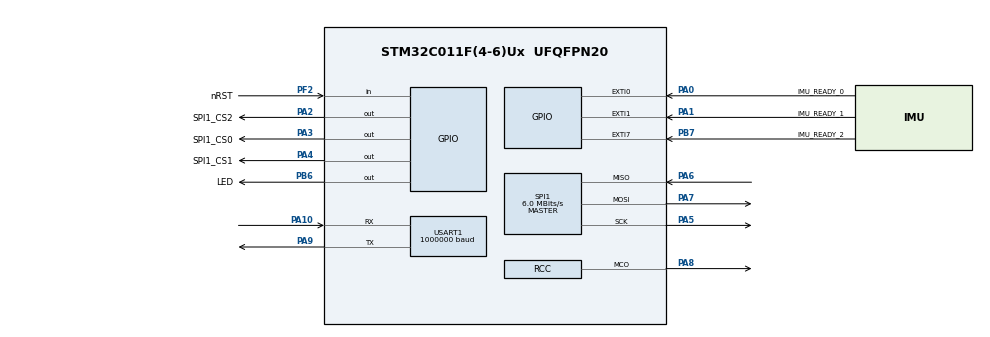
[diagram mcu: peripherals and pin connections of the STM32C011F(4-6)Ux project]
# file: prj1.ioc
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Mcu.Family=STM32C0
Mcu.Name=STM32C011F(4-6)Ux
Mcu.Package=UFQFPN20
NVIC.EXTI0_1_IRQn=true\:0\:0\:false\:false\:true\:true\:true\:true
NVIC.EXTI4_15_IRQn=true\:0\:0\:false\:false\:true\:true\:true\:true
NVIC.SPI1_IRQn=true\:0\:0\:false\:false\:true\:true\:true\:true
NVIC.TIM17_IRQn=true\:0\:0\:false\:false\:true\:true\:true\:true
NVIC.TIM1_BRK_UP_TRG_COM_IRQn=true\:0\:0\:false\:false\:true\:true\:true\:true
NVIC.USART1_IRQn=true\:0\:0\:false\:false\:true\:true\:true\:true
PA0.GPIO_Label=IMU_READY_0
PA0.Signal=GPXTI0
PA1.GPIO_Label=IMU_READY_1
PA1.Signal=GPXTI1
PA10\ [PA12].GPIO_FMPA10=SYSCFG_FASTMODEPLUS_PA10
PA10\ [PA12].GPIO_ModeDefaultPP=GPIO_MODE_AF_PP
PA10\ [PA12].GPIO_PuPd=GPIO_NOPULL
PA10\ [PA12].GPIO_Speed=GPIO_SPEED_FREQ_VERY_HIGH
PA10\ [PA12].Mode=Asynchronous
PA10\ [PA12].Signal=USART1_RX
PA13.Mode=Serial_Wire
PA13.Signal=DEBUG_SWDIO
PA14-BOOT0.Mode=Serial_Wire
PA14-BOOT0.Signal=DEBUG_SWCLK
PA2.GPIO_Label=SPI1_CS2
PA2.GPIO_Speed=GPIO_SPEED_FREQ_VERY_HIGH
PA2.PinState=GPIO_PIN_SET
PA2.Signal=GPIO_Output
PA3.GPIO_Label=SPI1_CS0
PA3.GPIO_ModeDefaultOutputPP=GPIO_MODE_OUTPUT_PP
PA3.GPIO_PuPd=GPIO_NOPULL
PA3.GPIO_Speed=GPIO_SPEED_FREQ_VERY_HIGH
PA3.PinState=GPIO_PIN_SET
PA3.Signal=GPIO_Output
PA4.GPIO_Label=SPI1_CS1
PA4.GPIO_PuPd=GPIO_NOPULL
PA4.GPIO_Speed=GPIO_SPEED_FREQ_VERY_HIGH
PA4.PinState=GPIO_PIN_SET
PA4.Signal=GPIO_Output
PA5.GPIO_Speed=GPIO_SPEED_FREQ_VERY_HIGH
PA5.Mode=Full_Duplex_Master
PA5.Signal=SPI1_SCK
PA6.GPIO_Speed=GPIO_SPEED_FREQ_VERY_HIGH
PA6.Mode=Full_Duplex_Master
PA6.Signal=SPI1_MISO
PA7.GPIO_Speed=GPIO_SPEED_FREQ_VERY_HIGH
PA7.Mode=Full_Duplex_Master
PA7.Signal=SPI1_MOSI
PA8.GPIO_Speed=GPIO_SPEED_FREQ_LOW
PA8.Mode=Clock-out
PA8.Signal=RCC_MCO
PA9\ [PA11].GPIO_FMPA9=SYSCFG_FASTMODEPLUS_PA9
PA9\ [PA11].GPIO_PuPd=GPIO_NOPULL
PA9\ [PA11].GPIO_Speed=GPIO_SPEED_FREQ_VERY_HIGH
PA9\ [PA11].Mode=Asynchronous
PA9\ [PA11].Signal=USART1_TX
PB6.GPIO_Label=LED
PB6.GPIO_Speed=GPIO_SPEED_FREQ_VERY_HIGH
PB6.PinState=GPIO_PIN_RESET
PB6.Signal=GPIO_Output
PB7.GPIO_Label=IMU_READY_2
PB7.Signal=GPXTI7
PC14-OSCX_IN\ (PC14).Mode=HSE-External-Oscillator-REMAPPED
PC14-OSCX_IN\ (PC14).Signal=RCC_OSCX_IN
PC15-OSCX_OUT\ (PC15).Mode=HSE-External-Oscillator-REMAPPED
PC15-OSCX_OUT\ (PC15).Signal=RCC_OSCX_OUT
PF2-NRST.GPIO_Label=nRST
PF2-NRST.Signal=GPIO_Input
ProjectManager.HeapSize=0x200
ProjectManager.StackSize=0x400
ProjectManager.TargetToolchain=STM32CubeIDE
RCC.ADCFreq_Value=48000000
RCC.AHBFreq_Value=48000000
RCC.CortexFreq_Value=48000000
RCC.EXTERNAL_CLOCK_VALUE=12288000
RCC.HCLKFreq_Value=48000000
RCC.HSE_VALUE=48000000
RCC.HSISYSCLKDivider=RCC_HSI_DIV1
RCC.HSI_VALUE=48000000
RCC.LSE_VALUE=32768
RCC.SYSCLKFreq_VALUE=48000000
SPI1.BaudRatePrescaler=SPI_BAUDRATEPRESCALER_8
SPI1.CalculateBaudRate=6.0 MBits/s
SPI1.Direction=SPI_DIRECTION_2LINES
SPI1.Mode=SPI_MODE_MASTER
SPI1.VirtualType=VM_MASTER
TIM1.Period=9
TIM1.Prescaler=4799
TIM17.Prescaler=47
USART1.BaudRate=1000000
USART1.VirtualMode-Asynchronous=VM_ASYNC
VP_SYS_VS_PINREMAP.Mode=PINREMAP
VP_SYS_VS_PINREMAP_10_12.Mode=PINREMAP_10_12
VP_TIM17_VS_ClockSourceINT.Mode=Enable_Timer
VP_TIM1_VS_ClockSourceINT.Mode=Internal
board=STM32C0116-DK

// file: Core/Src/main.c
/* USER CODE BEGIN Header */
/**
  ******************************************************************************
  * @file           : main.c
  * @brief          : Main program body
  ******************************************************************************
  * @attention

  ******************************************************************************
  */
/* USER CODE END Header */
#include "main.h"
#include "spi.h"
#include "tim.h"
#include "usart.h"
#include "gpio.h"

/* USER CODE BEGIN Includes */
#include <stdio.h>           //add for sprintf
#include "string.h"          //add for memcmp
#include "spi.h"             //add

/* USER CODE END Includes */

/* USER CODE BEGIN PTD */

//#define TXMODE
#define RXMODE

extern volatile uint8_t flg_rx;
extern volatile uint8_t irxdata[RXDATALEN+2];
extern volatile uint8_t irxdata2[RXDATALEN+2];
//extern volatile uint8_t icurrentindex;

extern volatile uint32_t irxcount;
extern volatile uint32_t irxcount2;

extern volatile uint8_t flg_timer1;

//uint32_t  isensorcount=0;
//uint32_t  iledcount=0;

uint32_t  immc0_ctrl_0=0;
uint32_t  immc1_ctrl_0=0;

uint8_t ireportdata[32];

/* USER CODE END PTD */

/* USER CODE BEGIN PD */

  #define ADC_CALIBRATION_TIMEOUT_MS       (   1UL)
  #define ADC_ENABLE_TIMEOUT_MS            (   1UL)
  #define ADC_DISABLE_TIMEOUT_MS           (   1UL)
  #define ADC_STOP_CONVERSION_TIMEOUT_MS   (   1UL)
  #define ADC_CONVERSION_TIMEOUT_MS        (4000UL)

  /* Delay between ADC end of calibration and ADC enable.                     */
  /* Delay estimation in CPU cycles: Case of ADC enable done                  */
  /* immediately after ADC calibration, ADC clock setting slow                */
  /* (LL_ADC_CLOCK_ASYNC_DIV32). Use a higher delay if ratio                  */
  /* (CPU clock / ADC clock) is above 32.                                     */
  #define ADC_DELAY_CALIB_ENABLE_CPU_CYCLES  (LL_ADC_DELAY_CALIB_ENABLE_ADC_CYCLES * 32)

/* Definitions of environment analog values */
  /* Value of analog reference voltage (Vref+), connected to analog voltage   */
  /* supply Vdda (unit: mV).                                                  */
  #define VDDA_APPLI                       (3300UL)

/* Definitions of data related to this example */
  /* Init variable out of expected ADC conversion data range */
  #define VAR_CONVERTED_DATA_INIT_VALUE    (__LL_ADC_DIGITAL_SCALE(LL_ADC_RESOLUTION_12B) + 1)

/* USER CODE END PD */

/* USER CODE BEGIN PM */

//---MMC5983---
#define DATA_HEADER_POINT  0
#define DATA_MMC0_POINT  2
#define DATA_MMC1_POINT  9
#define DATA_ICM0_POINT  16
#define DATA_TIME_POINT  28
#define DATA_ENDER_POINT 30

#define FROZEN_GAP   10000    //10s

#define MMC5983_XOUT_REG            0x00
#define MMC5983_TOUT_REG            0x07
#define MMC5983_STATUS_REG          0x08
#define MMC5983_CONTROL0_REG        0x09
#define MMC5983_CONTROL1_REG        0x0A
#define MMC5983_CONTROL2_REG        0x0B
#define MMC5983_CONTROL3_REG        0x0C
#define MMC5983_PRODUCT_ID_REG      0x2F

#define MMC5983_PRODUCT_ID_RESULT   0x30

#define MMC5983_MYSTERY_REG 0x29
#define MMC5983_MYSTERY_TC_DISABLE 0x01
#define MMC5983_UNLOCK_REG 0x0F
#define MMC5983_UNLOCK_VAL 0xE1

//MEMSIC values
#define MMC5983_CONTROL0_MAG_MEAS   0x01
#define MMC5983_CONTROL0_TEMP_MEAS  0x02
#define MMC5983_CONTROL0_INT_EN     0x04
#define MMC5983_CONTROL0_SET        0x08
#define MMC5983_CONTROL0_RESET      0x10
#define MMC5983_CONTROL0_AUTOSREN   0x20   //add

#define MMC5983_CONTROL0_INIT       0x00
#define MMC5983_CONTROL0_START_TEMP_CMD  (MMC5983_CONTROL0_TEMP_MEAS | MMC5983_CONTROL0_RESET)
#define MMC5983_CONTROL0_START_CMD  (MMC5983_CONTROL0_MAG_MEAS)

#ifdef OMMO_SENSOR_MEMSIC_MMC5983_SET
  #define MMC5983_CONTROL0_SET_CMD    (MMC5983_CONTROL0_SET)
#else
  #define MMC5983_CONTROL0_SET_CMD    (MMC5983_CONTROL0_RESET) //RESET will invert the axis making them right handed
#endif

#define MMC5983_CONTROL1_CHIP_RESET 0x80
#define MMC5983_CONTROL1_BW_100     0x00
#define MMC5983_CONTROL1_BW_200     0x01
#define MMC5983_CONTROL1_BW_400     0x02
#define MMC5983_CONTROL1_BW_800     0x03
#define MMC5983_CONTROL1_INIT       MMC5983_CONTROL1_BW_8

#define MMC5983_CONTROL2_CM_FREQ_1000  0X07    //add
#define MMC5983_CONTROL2_CMM_EN        0X08    //add

//---ICM42605---
// Bank 0
#define ICM_DEVICE_ID                          0x42

#define ICM42605_DEVICE_CONFIG_REG             0x11
#define ICM42605_INT_CONFIG_REG                0x14
#define ICM42605_ACCEL_DATA_X1_REG             0x1F

#define ICM42605_INT_STATUS_REG                0x2D

#define ICM42605_PWR_MGMT0_REG                 0x4E
#define ICM42605_GYRO_CONFIG0_REG              0x4F
#define ICM42605_ACCEL_CONFIG0_REG             0x50
#define ICM42605_GYRO_CONFIG1_REG              0x51

#define ICM42605_INT_CONFIG1_REG               0x64
#define ICM42605_INT_SOURCE0_REG               0x65
#define ICM42605_WHO_AM_I_REG                  0x75

#define ICM42605_REG_BANK_SEL_REG              0x76

// Bank 4
#define ICM42605_APEX_CONFIG5_REG              0x44

/* USER CODE END PM */

void SystemClock_Config(void);

/* USER CODE BEGIN 0 */

void iputs1(char *msg)
{
   while(*msg)
   Send_Data_To_UART1(*msg++);
}

void iputbytes1(uint8_t *msg, uint32_t ilen)
{
   while(ilen--)
   Send_Data_To_UART1(*msg++);
}

void Send_Data_To_UART1 (uint8_t c)
{
   USART1->TDR = c;
   while( (USART1-> ISR & (1<<7) ) ==0 );
}

uint8_t get_checksum_8(uint8_t *ival, uint32_t inum)
{
   uint32_t i =0;
   uint8_t iret =0;
   uint16_t isum =0;

   for (i=0; i<inum; i++)
   {
      isum += ival[i];
   }

   iret = (uint8_t)(isum & 0xff);

   return iret;
}

void dowith_uart_tx(void)
{

}

void dowith_uart_rx(void)
{

}

void delay_count(uint32_t icount)
{
   uint32_t inum = icount;
   while (inum--) ;
}

uint8_t SPI_transfer(uint8_t data)
{
   // transmit
	LL_SPI_TransmitData8(MMC_SPI, data);
	while(!LL_SPI_IsActiveFlag_TXE(MMC_SPI));

   // receive
	while(!LL_SPI_IsActiveFlag_RXNE(MMC_SPI));
	return LL_SPI_ReceiveData8(MMC_SPI);

}

//---------------------mmc0 module---------------------------

uint8_t mmc0_read_byte(uint8_t addr)
{
   uint8_t value;

   LL_GPIO_ResetOutputPin((GPIO_TypeDef *)GPIOA, LL_GPIO_PIN_3);

   SPI_transfer(0x80|addr );
   value  = SPI_transfer(0x00);

   LL_GPIO_SetOutputPin((GPIO_TypeDef *)GPIOA, LL_GPIO_PIN_3);

   return value;
}

void mmc0_write_byte(uint8_t addr,  uint8_t value)
{

   LL_GPIO_ResetOutputPin((GPIO_TypeDef *)GPIOA, LL_GPIO_PIN_3);

   SPI_transfer(addr);
   SPI_transfer(value);

   LL_GPIO_SetOutputPin((GPIO_TypeDef *)GPIOA, LL_GPIO_PIN_3);

}

void mmc0_read_bytes(uint8_t addr ,uint8_t length ,uint8_t *buffer)
{
   for(int index = 0; index < length; index++)
   {
       buffer[index]  = mmc0_read_byte(addr+index);
   }

}

void mmc0_readfromspi( uint8_t iaddr, uint8_t ilen, uint8_t *idata)
{

   LL_GPIO_ResetOutputPin((GPIO_TypeDef *)GPIOA, LL_GPIO_PIN_3);

   SPI_transfer(0x80 |iaddr);

   while(ilen--)
   {
       *idata  = SPI_transfer(0x00);
       idata++;
   }

   LL_GPIO_SetOutputPin((GPIO_TypeDef *)GPIOA, LL_GPIO_PIN_3);

}

void mmc0_init(void)
{
   uint8_t ivalue=0;

   //check device id
   ivalue = mmc0_read_byte(MMC5983_PRODUCT_ID_REG);  //read id
   if(ivalue == MMC5983_PRODUCT_ID_RESULT)  //device id
   {
      //flg_mmc0_ready=1;
      //iputs1("mmc0 ok");

      //reset
      mmc0_write_byte(MMC5983_CONTROL1_REG,MMC5983_CONTROL1_CHIP_RESET );  //reset
      LL_mDelay(20);

      //set control 0
      mmc0_write_byte(MMC5983_CONTROL0_REG,MMC5983_CONTROL0_AUTOSREN|MMC5983_CONTROL0_INT_EN);  //auto ser/reset, enable interrupt

      //set control 1
      mmc0_write_byte(MMC5983_CONTROL1_REG,MMC5983_CONTROL1_BW_800);     //800Hz BW, Measur Time

      //set control 2
      //mmc0_write_byte(MMC5983_CONTROL2_REG,MMC5983_CONTROL2_CM_FREQ_1000| MMC5983_CONTROL2_CMM_EN);  //1000Hz measure, continuous mode
      mmc0_write_byte(MMC5983_CONTROL2_REG,MMC5983_CONTROL2_CM_FREQ_1000| MMC5983_CONTROL2_CMM_EN|7<<4|0x80);  //1000Hz measure, continuous mode, 1000Hz prd set, enable prd set

      //clear int
      ivalue = mmc0_read_byte(MMC5983_STATUS_REG);       //status
      mmc0_write_byte(MMC5983_STATUS_REG, ivalue & 0x01);

   }
   else
   {
      //flg_mmc0_ready=0;
      iputs1("mmc0 err");
   }

}

void mmc0_read_data(uint8_t *sdata, uint8_t ilen)
{
   uint8_t ivalue=0;

   //clear int
   ivalue = mmc0_read_byte(MMC5983_STATUS_REG);
   mmc0_write_byte(MMC5983_STATUS_REG, ivalue & 0x01);

   //read data
   //mmc0_read_bytes(MMC5983_XOUT_REG, ilen, sdata);
   mmc0_readfromspi(MMC5983_XOUT_REG, ilen, sdata);
}

void mmc0_init2(void)
{
   uint8_t ivalue=0;

   //check device id
   ivalue = mmc0_read_byte(MMC5983_PRODUCT_ID_REG);  //read id
   if(ivalue == MMC5983_PRODUCT_ID_RESULT)  //device id
   {
      iputs1("mmc0 ok");
      //flg_mmc0_ready=1;

      //unfrozen test
      mmc0_write_byte(MMC5983_CONTROL0_REG,MMC5983_CONTROL0_AUTOSREN|MMC5983_CONTROL0_INT_EN);      //auto ser/reset, enable interrupt
      mmc0_write_byte(MMC5983_CONTROL2_REG,MMC5983_CONTROL2_CM_FREQ_1000| MMC5983_CONTROL2_CMM_EN); //1000Hz, continuous mode
      LL_mDelay(1);
      mmc0_write_byte(MMC5983_CONTROL0_REG,MMC5983_CONTROL0_INIT);   //0
      immc0_ctrl_0=MMC5983_CONTROL0_INIT;
      mmc0_write_byte(MMC5983_CONTROL2_REG, 0x00);

      //reset
      mmc0_write_byte(MMC5983_CONTROL1_REG,MMC5983_CONTROL1_CHIP_RESET);  //reset
      LL_mDelay(20);

      //set control 0
      mmc0_write_byte(MMC5983_CONTROL0_REG,MMC5983_CONTROL0_INIT);   //0
      immc0_ctrl_0=MMC5983_CONTROL0_INIT;

      //set control 1
      mmc0_write_byte(MMC5983_CONTROL1_REG,MMC5983_CONTROL1_BW_800);    //800Hz

   }
   else
   {
       //flg_mmc0_ready=0;
       iputs1("mmc0 err");
   }

}

void mmc0_read_data2(uint8_t *sdata, uint8_t ilen)
{
   static uint32_t ireadcount = 0;

   //start sample
   mmc0_write_byte(MMC5983_CONTROL0_REG, immc0_ctrl_0 & 0x7f);

   mmc0_write_byte(MMC5983_CONTROL0_REG, MMC5983_CONTROL0_MAG_MEAS);    //sample
    //delay_count(2400);

   //read data
   mmc0_readfromspi(MMC5983_XOUT_REG, ilen, sdata);

   //set/reset + Temp command
   if (ireadcount>=1000)
   {
      ireadcount =0;

      mmc0_write_byte(MMC5983_CONTROL0_REG, immc0_ctrl_0 & 0x7f);
      mmc0_write_byte(MMC5983_CONTROL0_REG, MMC5983_CONTROL0_TEMP_MEAS | MMC5983_CONTROL0_RESET );
      mmc0_write_byte(MMC5983_CONTROL1_REG, MMC5983_CONTROL1_BW_800);    //800Hz

   }
}

//---------------------mmc0 module----end-----------------------

//---------------------mmc1 module---------------------------

uint8_t mmc1_read_byte(uint8_t addr)
{
   uint8_t value;

   LL_GPIO_ResetOutputPin((GPIO_TypeDef *)GPIOA, LL_GPIO_PIN_4);

   SPI_transfer(0x80|addr );
   value  = SPI_transfer(0x00);

   LL_GPIO_SetOutputPin((GPIO_TypeDef *)GPIOA, LL_GPIO_PIN_4);

   return value;
}

void mmc1_write_byte(uint8_t addr,  uint8_t value)
{
   LL_GPIO_ResetOutputPin((GPIO_TypeDef *)GPIOA, LL_GPIO_PIN_4);

   SPI_transfer(addr);
   SPI_transfer(value);

   LL_GPIO_SetOutputPin((GPIO_TypeDef *)GPIOA, LL_GPIO_PIN_4);
}

void mmc1_read_bytes(uint8_t addr ,uint8_t length ,uint8_t *buffer)
{
   //read data
   for(int index = 0; index < length; index++)
   {
      buffer[index]  = mmc1_read_byte(addr+index);
   }

}

void mmc1_readfromspi( uint8_t iaddr, uint8_t ilen, uint8_t *idata)
{
   LL_GPIO_ResetOutputPin((GPIO_TypeDef *)GPIOA, LL_GPIO_PIN_4);

   SPI_transfer(0x80 |iaddr);

   while(ilen--)
   {
      *idata  = SPI_transfer(0x00);
      idata++;
   }

   LL_GPIO_SetOutputPin((GPIO_TypeDef *)GPIOA, LL_GPIO_PIN_4);
}

void mmc1_init(void)
{
   uint8_t ivalue=0;

   //check device id
   ivalue = mmc1_read_byte(MMC5983_PRODUCT_ID_REG);  //read id
   if(ivalue == MMC5983_PRODUCT_ID_RESULT)  //device id
   {
      //flg_mmc1_ready=1;
      //iputs1("mmc1 ok");

      //reset
      mmc1_write_byte(MMC5983_CONTROL1_REG,MMC5983_CONTROL1_CHIP_RESET );  //reset
      LL_mDelay(20);

      //set control 0
      mmc1_write_byte(MMC5983_CONTROL0_REG,MMC5983_CONTROL0_AUTOSREN|MMC5983_CONTROL0_INT_EN);  //auto ser/reset, enable interrupt

      //set control 1
      mmc1_write_byte(MMC5983_CONTROL1_REG,MMC5983_CONTROL1_BW_800);    //800Hz BW, Measur Time

      //set control 2
      //mmc1_write_byte(MMC5983_CONTROL2_REG,MMC5983_CONTROL2_CM_FREQ_1000| MMC5983_CONTROL2_CMM_EN);  //1000Hz measure, continuous mode
      mmc1_write_byte(MMC5983_CONTROL2_REG,MMC5983_CONTROL2_CM_FREQ_1000| MMC5983_CONTROL2_CMM_EN|7<<4|0x80);  //1000Hz measure, continuous mode, 1000Hz prd set, enable prd set

      //clear int
      ivalue = mmc1_read_byte(MMC5983_STATUS_REG);       //status
      mmc1_write_byte(MMC5983_STATUS_REG, ivalue & 0x01);

   }
   else
   {
      //flg_mmc1_ready=0;
      iputs1("mmc1 err");
   }

}

void mmc1_read_data(uint8_t *sdata, uint8_t ilen)
{
   uint8_t ivalue=0;

   //clear int
   ivalue = mmc1_read_byte(MMC5983_STATUS_REG);
   mmc1_write_byte(MMC5983_STATUS_REG, ivalue & 0x01);

   //read data
   //mmc1_read_bytes(MMC5983_XOUT_REG, ilen, sdata);
   mmc1_readfromspi(MMC5983_XOUT_REG, ilen, sdata);

}

void mmc1_init2(void)
{
   uint8_t ivalue=0;

   //check device id
   ivalue = mmc1_read_byte(MMC5983_PRODUCT_ID_REG);  //read id
   if(ivalue == MMC5983_PRODUCT_ID_RESULT)  //device id
   {
      iputs1("mmc1 ok");
      //flg_mmc1_ready=1;

      //unfrozen  test
      mmc1_write_byte(MMC5983_CONTROL0_REG,MMC5983_CONTROL0_AUTOSREN|MMC5983_CONTROL0_INT_EN);      //auto ser/reset, enable interrupt
      mmc1_write_byte(MMC5983_CONTROL2_REG,MMC5983_CONTROL2_CM_FREQ_1000| MMC5983_CONTROL2_CMM_EN); //1000Hz, continuous mode
      LL_mDelay(1);
      mmc1_write_byte(MMC5983_CONTROL0_REG,MMC5983_CONTROL0_INIT);   //0
      immc1_ctrl_0=MMC5983_CONTROL0_INIT;
      mmc1_write_byte(MMC5983_CONTROL2_REG,0x00);

      //reset
      mmc1_write_byte(MMC5983_CONTROL1_REG,MMC5983_CONTROL1_CHIP_RESET);  //reset
      LL_mDelay(20);

      //set control 0
      mmc1_write_byte(MMC5983_CONTROL0_REG,MMC5983_CONTROL0_INIT);   //0
      immc1_ctrl_0	= MMC5983_CONTROL0_INIT;

      //set control 1
      mmc1_write_byte(MMC5983_CONTROL1_REG,MMC5983_CONTROL1_BW_800);    //800Hz

   }
   else
   {
      //flg_mmc1_ready=0;
      iputs1("mmc1 err");
   }

}

void mmc1_read_data2(uint8_t *sdata, uint8_t ilen)
{
   static uint32_t ireadcount = 0;

   //start sample
   mmc1_write_byte(MMC5983_CONTROL0_REG, immc1_ctrl_0 & 0x7f);
   mmc1_write_byte(MMC5983_CONTROL0_REG, MMC5983_CONTROL0_MAG_MEAS);    //sample

   //read data
   mmc1_readfromspi(MMC5983_XOUT_REG, ilen, sdata);

   //set/reset + Temp command
   if (ireadcount>=1000)
   {
      ireadcount =0;
      mmc1_write_byte(MMC5983_CONTROL0_REG, immc1_ctrl_0 & 0x7f);
      mmc1_write_byte(MMC5983_CONTROL0_REG, MMC5983_CONTROL0_TEMP_MEAS | MMC5983_CONTROL0_RESET );
      mmc1_write_byte(MMC5983_CONTROL1_REG, MMC5983_CONTROL1_BW_800);    //800Hz
   }

}

//---------------------mmc1 module----end-----------------------

//---------------------icm0 module---------------------------

uint8_t icm0_read_byte(uint8_t addr)
{
   uint8_t value;

   LL_GPIO_ResetOutputPin((GPIO_TypeDef *)GPIOA, LL_GPIO_PIN_2);

   SPI_transfer(0x80|addr );
   value  = SPI_transfer(0x00);

   LL_GPIO_SetOutputPin((GPIO_TypeDef *)GPIOA, LL_GPIO_PIN_2);

   return value;
}

void icm0_write_byte(uint8_t addr,  uint8_t value)
{
   LL_GPIO_ResetOutputPin((GPIO_TypeDef *)GPIOA, LL_GPIO_PIN_2);

   SPI_transfer(addr);
   SPI_transfer(value);

   LL_GPIO_SetOutputPin((GPIO_TypeDef *)GPIOA, LL_GPIO_PIN_2);
}

void icm0_read_bytes(uint8_t addr ,uint8_t length ,uint8_t *buffer)
{
   //read data
   for(int index = 0; index < length; index++)
   {
      buffer[index]  = icm0_read_byte(addr+index);
   }

}

void icm0_readfromspi( uint8_t iaddr, uint8_t ilen, uint8_t *idata)
{
   LL_GPIO_ResetOutputPin((GPIO_TypeDef *)GPIOA, LL_GPIO_PIN_2);

   SPI_transfer(0x80 |iaddr);

   while(ilen--)
   {
      *idata  = SPI_transfer(0x00);
      idata++;
   }

   LL_GPIO_SetOutputPin((GPIO_TypeDef *)GPIOA, LL_GPIO_PIN_2);
}

void icm0_init(void)
{
   uint8_t ivalue=0;

   icm0_write_byte( ICM42605_REG_BANK_SEL_REG, 0x00);    // set bank0

   //check device id
   ivalue =icm0_read_byte(ICM42605_WHO_AM_I_REG);     //read device id
   if(ivalue == ICM_DEVICE_ID)
   {
      //flg_icm0_ready=1;
      iputs1("icm0 ok");

      icm0_write_byte(ICM42605_DEVICE_CONFIG_REG, 0x01 );     //reset
      LL_mDelay(100);

      icm0_write_byte(ICM42605_PWR_MGMT0_REG, 0x0f);     // set GYRO and ACC in LN mode
      LL_mDelay(1);

      icm0_write_byte( ICM42605_GYRO_CONFIG0_REG, 0x06 | (3 << 5) );  //GYRO ODR 1KHz,GYRO FS 250dps
      icm0_write_byte(ICM42605_ACCEL_CONFIG0_REG, 0x06 | (3 << 5) );   //ACC ODR 1kHz, ACC FS  2g
      icm0_write_byte( ICM42605_GYRO_CONFIG1_REG, 0xD6);              //DLPF BW=5Hz; DLPF Latency=32ms, GYRO UI 2nd Order , DEC2 M2 3nd Order
      icm0_write_byte( ICM42605_INT_CONFIG_REG, 0x03);    //INT1  Push pull, Active high
      icm0_write_byte( ICM42605_INT_CONFIG1_REG, 0x00);    //proper INT1 and INT2 pin operation
      icm0_write_byte(ICM42605_INT_SOURCE0_REG, 0x09);     //UI data ready interrupt routed to INT1, UI AGC ready interrupt routed to INT1

      icm0_write_byte( ICM42605_REG_BANK_SEL_REG, 0x04);    //set bank 4
      icm0_write_byte( ICM42605_INT_SOURCE0_REG, 0x8F);    //Defines mounting matrix, chip to device frame
      icm0_write_byte( ICM42605_REG_BANK_SEL_REG, 0x00);    //set bank0

      ivalue=icm0_read_byte(0x2d);     //INT STATUS
   }
   else
   {
      //flg_icm0_ready=0;
      iputs1("icm0 err");
   }

}

void icm0_read_data(uint8_t *sdata, uint8_t ilen)
{
   uint8_t ivalue=0;

   icm0_write_byte( 0x76, 0x00);    // set bank0
   ivalue=icm0_read_byte(0x2d);      //INT STATUS

   //icm0_read_bytes(0x1f, ilen, sdata);
   icm0_readfromspi(0x1f, ilen, sdata);
}

//---------------------icm0 module----end-----------------------

/* USER CODE END 0 */

int main(void)
{
  /* USER CODE BEGIN 1 */
   uint8_t ivalue=0;

  /* USER CODE END 1 */

  /* MCU Configuration--------------------------------------------------------*/

  /* Reset of all peripherals, Initializes the Flash interface and the Systick. */
  LL_APB2_GRP1_EnableClock(LL_APB2_GRP1_PERIPH_SYSCFG);
  LL_APB1_GRP1_EnableClock(LL_APB1_GRP1_PERIPH_PWR);

  /* SysTick_IRQn interrupt configuration */
  NVIC_SetPriority(SysTick_IRQn, 3);

  LL_SYSCFG_EnablePinRemap(LL_SYSCFG_PIN_RMP_PA11);
  LL_SYSCFG_EnablePinRemap(LL_SYSCFG_PIN_RMP_PA12);

  /* Configure the system clock */
  SystemClock_Config();

  /* Initialize all configured peripherals */
  MX_GPIO_Init();
  MX_USART1_UART_Init();
  MX_TIM1_Init();
  MX_SPI1_Init();
  MX_TIM17_Init();
  /* USER CODE BEGIN 2 */
   LL_RCC_ConfigMCO(LL_RCC_MCO1SOURCE_SYSCLK, LL_RCC_MCO1_DIV_4);   //12Mhz = 48Mhz/4

   iputs1("start...\r\n");

  /* USER CODE END 2 */

  /* Infinite loop */
  /* USER CODE BEGIN WHILE */

   LL_SPI_Enable(SPI1);

   //sensor init
   mmc0_init2();
   mmc1_init2();
   icm0_init();

   while (1)
   {
      static uint32_t  itxcount=0;
      static uint32_t  isensorcount=0;
      static uint32_t  iledcount=0;
      static uint32_t  iresetcount=0;

      //LL_mDelay(1000);

    /* USER CODE END WHILE */

    /* USER CODE BEGIN 3 */

      //timer1
      if(flg_timer1==1)
      {
         flg_timer1=0;

         itxcount++;

         isensorcount++;
         iledcount++;
         iresetcount++;
      }

      //dowith_uart_tx();
      //dowith_uart_rx();

#if (defined TXMODE)
      uint8_t itxcmddata[4];

      if(itxcount>=1)   //1* 1ms =1ms
      {
         itxcount=0;

         itxcmddata[0]=CMDHEADER2;   //0x55;
         itxcmddata[1]=CMDHEADER1;   //0xAA;
         itxcmddata[2]=CMDEND1;      //0x0D;
         itxcmddata[3]=CMDEND2;      //0x0A;
         iputbytes1(itxcmddata,4);

      }
#else

      if (flg_rx==1)
      {
         flg_rx=0;
         //iputs1("rx in\r\n" );
         //iputbytes1((uint8_t *)irxdata2, irxcount2);

         uint16_t itimnum = LL_TIM_GetCounter(TIM17);
         ireportdata[ DATA_TIME_POINT] = (uint8_t)(itimnum & 0xff);
         ireportdata[ DATA_TIME_POINT+1] = (uint8_t)( (itimnum>>8) & 0xff );

         iputbytes1(ireportdata,32);
      }

      //read sensor data
      if(isensorcount>=10)   //1* 1ms =1ms
      {
         isensorcount=0;

         memset(ireportdata,0,32);

         ireportdata[DATA_HEADER_POINT]=CMDHEADER1;     //0xAA;
         ireportdata[DATA_HEADER_POINT+1]=CMDHEADER2;   //0x55;
         ireportdata[DATA_ENDER_POINT]=CMDEND1;         //0x0D;
         ireportdata[DATA_ENDER_POINT+1]=CMDEND2;        //0x0A;

         mmc0_read_data2(ireportdata+DATA_MMC0_POINT,7);
         mmc1_read_data2(ireportdata+DATA_MMC1_POINT,7);
         icm0_read_data(ireportdata+DATA_ICM0_POINT,12);

         //iputbytes1(ireportdata,32);

      }

      if(iresetcount>=1000)
      {
         iresetcount=0;

         mmc0_write_byte(MMC5983_CONTROL0_REG, MMC5983_CONTROL0_RESET );
         //mmc0_write_byte(MMC5983_CONTROL0_REG, MMC5983_CONTROL0_SET );

         mmc1_write_byte(MMC5983_CONTROL0_REG, MMC5983_CONTROL0_RESET );
         //mmc1_write_byte(MMC5983_CONTROL0_REG, MMC5983_CONTROL0_SET );
      }

   #endif

      //led
      if(iledcount>=1000)   //1000* 1ms =1ms
      {
         iledcount=0;

         LL_GPIO_TogglePin(LED_GPIO_Port, LED_Pin);
      }

   }
  /* USER CODE END 3 */
}

void SystemClock_Config(void)
{

  LL_FLASH_SetLatency(LL_FLASH_LATENCY_1);

  /* HSI configuration and activation */
  LL_RCC_HSI_Enable();
  while(LL_RCC_HSI_IsReady() != 1)
  {
  }

  LL_RCC_HSI_SetCalibTrimming(64);
  LL_RCC_SetHSIDiv(LL_RCC_HSI_DIV_1);
  /* Set AHB prescaler*/
  LL_RCC_SetAHBPrescaler(LL_RCC_HCLK_DIV_1);

  /* Sysclk activation on the HSI */
  LL_RCC_SetSysClkSource(LL_RCC_SYS_CLKSOURCE_HSI);
  while(LL_RCC_GetSysClkSource() != LL_RCC_SYS_CLKSOURCE_STATUS_HSI)
  {
  }

  /* Set APB1 prescaler*/
  LL_RCC_SetAPB1Prescaler(LL_RCC_APB1_DIV_1);
  LL_Init1msTick(48000000);
  /* Update CMSIS variable (which can be updated also through SystemCoreClockUpdate function) */
  LL_SetSystemCoreClock(48000000);
  LL_RCC_ConfigMCO(LL_RCC_MCO1SOURCE_SYSCLK, LL_RCC_MCO1_DIV_1);
}

void Error_Handler(void)
{
   __disable_irq();
   while (1)
   {
   }
}
